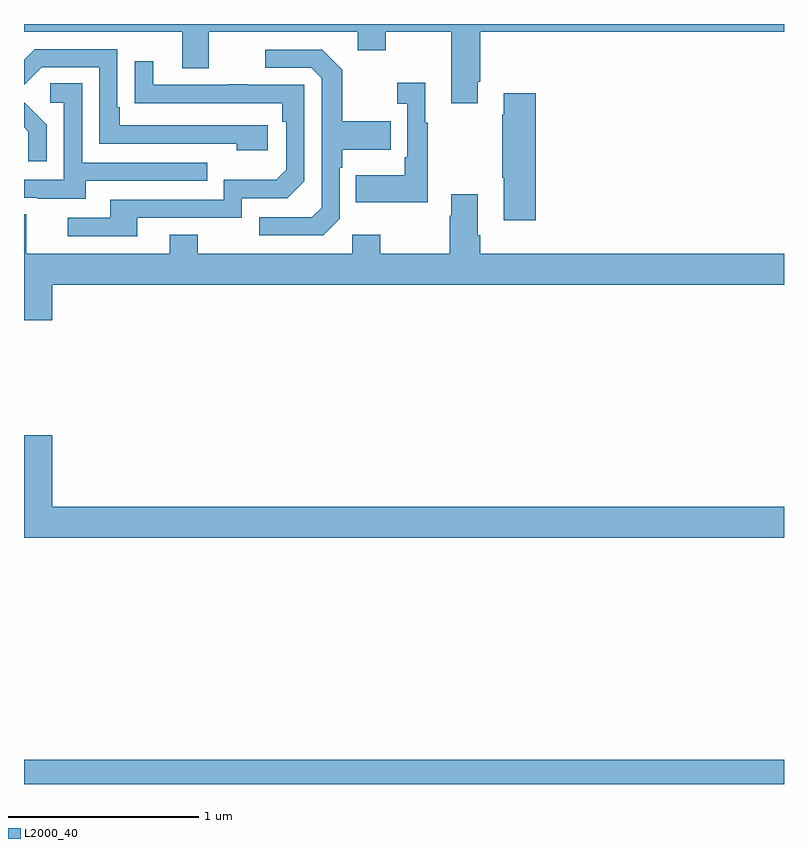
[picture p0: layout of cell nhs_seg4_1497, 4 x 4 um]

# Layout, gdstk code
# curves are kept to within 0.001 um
import gdstk
lib = gdstk.Library(unit=1e-6, precision=1e-09)
def R(c, l, rs):  # rectangles x0, y0, x1, y1
    for r in rs: c.add(gdstk.rectangle(r[:2], r[2:], *l))
def P(c, l, *ps):  # polygons
    for p in ps: c.add(gdstk.Polygon(p, *l))
L2000_40 = (2000, 40)

nhs_seg4_1497 = lib.new_cell('nhs_seg4_1497')
R(nhs_seg4_1497, L2000_40, [(189,752.9,193,753.028)])
P(nhs_seg4_1497, L2000_40, [(191.389,756.595),(191.402,756.595),(191.402,756.86),(193,756.86),(193,756.9),(189,756.9),(189,756.86),(189.833,756.86),(189.833,756.666),(189.973,756.666),(189.973,756.86),(190.757,756.86),(190.757,756.761),(190.905,756.761),(190.905,756.86),(191.249,756.86),(191.249,756.483),(191.389,756.483)],
  [(190.282,756.366),(189.505,756.366),(189.505,756.463),(189.492,756.463),(189.492,756.768),(189.057,756.768),(189,756.711),(189,756.579),(189.093,756.672),(189.396,756.672),(189.396,756.27),(190.121,756.27),(190.121,756.236),(190.282,756.236)],
  [(190.662,755.874),(190.662,756.143),(190.675,756.143),(190.675,756.239),(190.931,756.239),(190.931,756.387),(190.675,756.387),(190.675,756.659),(190.569,756.765),(190.269,756.765),(190.269,756.669),(190.512,756.669),(190.566,756.615),(190.566,755.934),(190.515,755.883),(190.239,755.883),(190.239,755.787),(190.575,755.787)],
  [(189.595,755.88),(190.146,755.88),(190.146,755.982),(190.386,755.982),(190.476,756.072),(190.476,756.579),(190.181,756.579),(190.181,756.584),(190.069,756.584),(190.069,756.579),(189.679,756.579),(189.679,756.703),(189.583,756.703),(189.583,756.484),(190.36,756.483),(190.36,756.386),(190.38,756.386),(190.38,756.132),(190.327,756.079),(190.05,756.079),(190.05,755.976),(189.455,755.976),(189.455,755.88),(189.231,755.88),(189.231,755.784),(189.595,755.784)],
  [(191.125,756.379),(191.113,756.379),(191.113,756.592),(190.965,756.592),(190.965,756.479),(191.016,756.479),(191.016,756.199),(191.004,756.199),(191.004,756.103),(190.747,756.103),(190.747,755.963),(191.125,755.963)],
  [(189.325,756.075),(189.965,756.075),(189.965,756.171),(189.306,756.171),(189.306,756.587),(189.138,756.587),(189.138,756.486),(189.21,756.486),(189.21,756.081),(189,756.081),(189,755.985),(189.071,755.985),(189.071,755.981),(189.325,755.981)],
  [(191.693,756.535),(191.525,756.535),(191.525,756.422),(191.518,756.422),(191.518,756.091),(191.525,756.091),(191.525,755.868),(191.693,755.868)],
  [(189.12,756.37),(189.004,756.486),(189,756.486),(189,756.356),(189.023,756.333),(189.023,756.177),(189.12,756.177)],
  [(189.148,755.528),(193,755.528),(193,755.692),(191.402,755.692),(191.402,755.788),(191.389,755.788),(191.389,756.004),(191.249,756.004),(191.249,755.891),(191.242,755.891),(191.242,755.692),(190.875,755.692),(190.875,755.791),(190.728,755.791),(190.728,755.692),(189.915,755.692),(189.915,755.791),(189.767,755.791),(189.767,755.692),(189.013,755.692),(189.013,755.9),(189,755.9),(189,755.34),(189.148,755.34)],
  [(193,754.36),(189.148,754.36),(189.148,754.735),(189,754.735),(189,754.196),(193,754.196)])

lib.write_gds('nhs_seg4_1497.gds')
